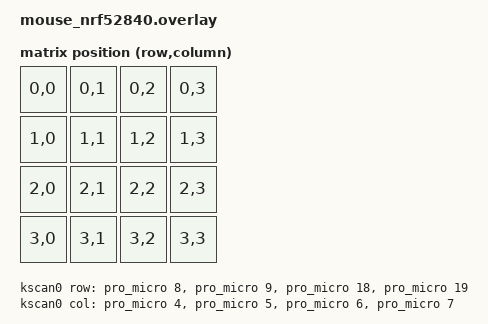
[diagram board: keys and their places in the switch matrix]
#include <dt-bindings/zmk/matrix_transform.h>
#include <zephyr/dt-bindings/input/input-event-codes.h>

/* ---------- Сенсор PMW3610 (3-проводной SPI) ---------- */

&pinctrl {
    spi0_default: spi0_default {
        group1 {
            psels = <NRF_PSEL(SPIM_SCK, 0, 8)>,    /* D0, CLK */
                    <NRF_PSEL(SPIM_MOSI, 0, 17)>,  /* D2, SDIO */
                    <NRF_PSEL(SPIM_MISO, 0, 17)>;  /* D2, SDIO */
        };
    };

    spi0_sleep: spi0_sleep {
        group1 {
            psels = <NRF_PSEL(SPIM_SCK, 0, 8)>,
                    <NRF_PSEL(SPIM_MOSI, 0, 17)>,
                    <NRF_PSEL(SPIM_MISO, 0, 17)>;
            low-power-enable;
        };
    };
};

&spi0 {
    status = "okay";
    compatible = "nordic,nrf-spim";
    pinctrl-0 = <&spi0_default>;
    pinctrl-1 = <&spi0_sleep>;
    pinctrl-names = "default", "sleep";
    cs-gpios = <&gpio0 20 GPIO_ACTIVE_LOW>;   /* D3, CS */

    trackball: trackball@0 {
        status = "okay";
        compatible = "pixart,pmw3610-alt";
        reg = <0>;
        spi-max-frequency = <2000000>;
        irq-gpios = <&gpio0 6 (GPIO_ACTIVE_LOW | GPIO_PULL_UP)>;  /* D1, MOTION */

        /* если курсор двигается не в ту сторону, раскомментируйте нужное: */
        // swap-xy;
        // invert-x;
        // invert-y;
    };
};

/* ---------- Корневой узел: матрица кнопок и слушатель сенсора ---------- */

/ {
    chosen {
        zmk,kscan = &kscan0;
        zmk,matrix-transform = &default_transform;
    };

    trackball_listener {
        compatible = "zmk,input-listener";
        device = <&trackball>;
    };

    kscan0: kscan {
        compatible = "zmk,kscan-gpio-matrix";
        diode-direction = "col2row";
        wakeup-source;

        /* Столбцы (выходы): D4, D5, D6, D7 */
        col-gpios
            = <&pro_micro 4 GPIO_ACTIVE_HIGH>
            , <&pro_micro 5 GPIO_ACTIVE_HIGH>
            , <&pro_micro 6 GPIO_ACTIVE_HIGH>
            , <&pro_micro 7 GPIO_ACTIVE_HIGH>
            ;

        /* Строки (входы): D8, D9, D18, D19 */
        row-gpios
            = <&pro_micro 8  (GPIO_ACTIVE_HIGH | GPIO_PULL_DOWN)>
            , <&pro_micro 9  (GPIO_ACTIVE_HIGH | GPIO_PULL_DOWN)>
            , <&pro_micro 18 (GPIO_ACTIVE_HIGH | GPIO_PULL_DOWN)>
            , <&pro_micro 19 (GPIO_ACTIVE_HIGH | GPIO_PULL_DOWN)>
            ;
    };

    default_transform: keymap_transform_0 {
        compatible = "zmk,matrix-transform";
        columns = <4>;
        rows = <4>;
        map = <
            RC(0,0) RC(0,1) RC(0,2) RC(0,3)
            RC(1,0) RC(1,1) RC(1,2) RC(1,3)
            RC(2,0) RC(2,1) RC(2,2) RC(2,3)
            RC(3,0) RC(3,1) RC(3,2) RC(3,3)
        >;
    };
};
